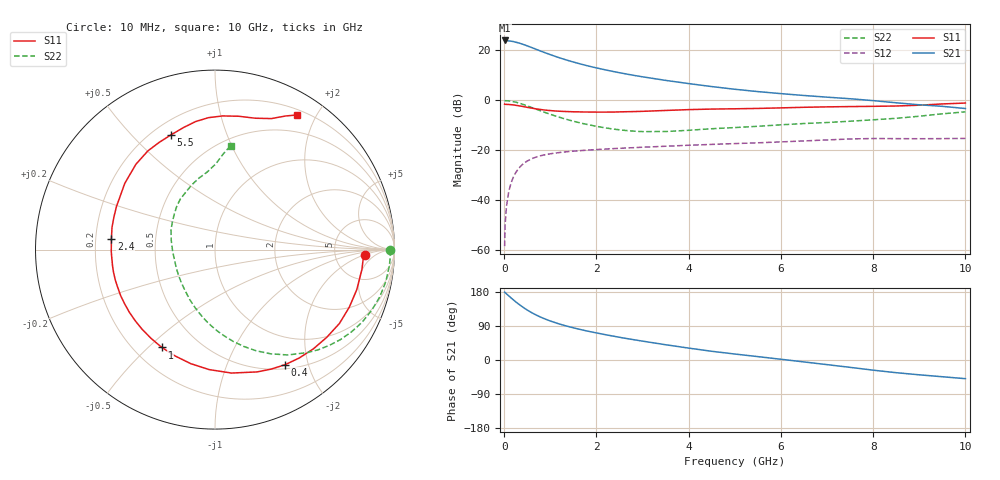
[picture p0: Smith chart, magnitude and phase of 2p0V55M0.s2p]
! (c) 2009  Infineon Technologies AG, Munich
! Infineon Technologies  Discrete & RF Semiconductors
! BFP420
! VCE =  0.5 V,  IC =  5.0 mA
! Common Emitter S-Parameters:  Nov 2009
# GHz  S  MA  R  50
!  f  S11  S21  S12  S22
! GHz  MAG  ANG  MAG  ANG  MAG  ANG  MAG  ANG
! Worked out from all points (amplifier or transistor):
!   46 points, 10 MHz to 10 GHz, reference 50 ohm
!   highest |S21| = 23.9 dB at 10 MHz (marker M1)
!   |S21| within 3 dB of that: start of sweep to 619.4 MHz
!   unconditionally stable (mu >= 1): 2.945 GHz to end of sweep
!   at 300 MHz: K = 0.11, MSG = 25.3 dB, |S12| = -27.7 dB
!   at 1.7 GHz: K = 0.63, MSG = 17.2 dB, |S12| = -20.1 dB
!   at 10 GHz: K = 1.09, MAG = 4.1 dB, |S12| = -15.3 dB
!   lowest NFmin = 0.66 dB at 900 MHz
!   S11 on the Smith chart (normalised r, x): 10 MHz: 11, -2; 400 MHz: 0.56, -1.64; 1 GHz: 0.31, -0.55; 2.4 GHz: 0.27, +0.05; 5.5 GHz: 0.27, +0.65; 10 GHz: 0.27, +1.75
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0.01  0.8353 -2.0  15.7 179.2  0.0012 94.3  0.9735 -0.2
0.02  0.8276 -3.2  15.37 178.2  0.0031 87.0  0.9776 -2.1
0.05  0.826 -7.7  15.42 174.6  0.0075 86.1  0.9758 -5.4
0.1  0.821 -15.7  15.4 169.3  0.0149 81.9  0.9681 -10.7
0.2  0.8062 -30.7  14.91 158.8  0.029 73.7  0.9362 -21.2
0.3  0.7787 -45.2  14.13 148.9  0.0414 66.3  0.8884 -31.0
0.4  0.751 -58.6  13.22 140.0  0.0519 59.6  0.8313 -39.9
0.5  0.7208 -71.0  12.24 131.9  0.0606 53.9  0.7716 -48.0
0.6  0.6939 -82.4  11.29 124.7  0.0676 48.9  0.7132 -55.4
0.7  0.6693 -92.8  10.39 118.3  0.0732 44.7  0.6582 -61.9
0.8  0.6497 -102.0  9.563 112.7  0.0778 41.2  0.6082 -67.9
1  0.6205 -118.5  8.173 103.0  0.0847 35.5  0.5229 -78.6
1.3  0.5956 -138.3  6.597 91.4  0.0919 29.5  0.4276 -92.4
1.7  0.5815 -158.8  5.181 79.2  0.0987 24.3  0.3429 -108.7
2.4  0.5802 174.2  3.699 62.2  0.1079 18.2  0.2621 -135.9
3  0.5991 156.4  2.94 49.8  0.1146 14.4  0.2353 -159.1
3.5  0.6237 143.7  2.494 40.3  0.1199 11.4  0.2362 -177.7
4.5  0.665 124.2  1.875 23.0  0.1305 5.6  0.2686 155.8
5.5  0.6849 110.9  1.487 8.9  0.1405 0.6  0.3007 139.0
7  0.7361 92.8  1.151 -12.2  0.1605 -8.7  0.3579 117.3
8.5  0.7658 72.9  0.888 -33.5  0.1703 -22.6  0.4341 95.8
10  0.8776 58.7  0.682 -49.3  0.172 -31.1  0.5849 81.5
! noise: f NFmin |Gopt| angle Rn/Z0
0.9  0.66  0.21  31  0.15
1.8  1.05  0.09  93  0.13
2.4  1.14  0.14  119  0.13
3  1.24  0.17  165  0.11
4  1.41  0.31  -145  0.12
5  1.85  0.38  -119  0.21
6  2.3  0.45  -101  0.36
